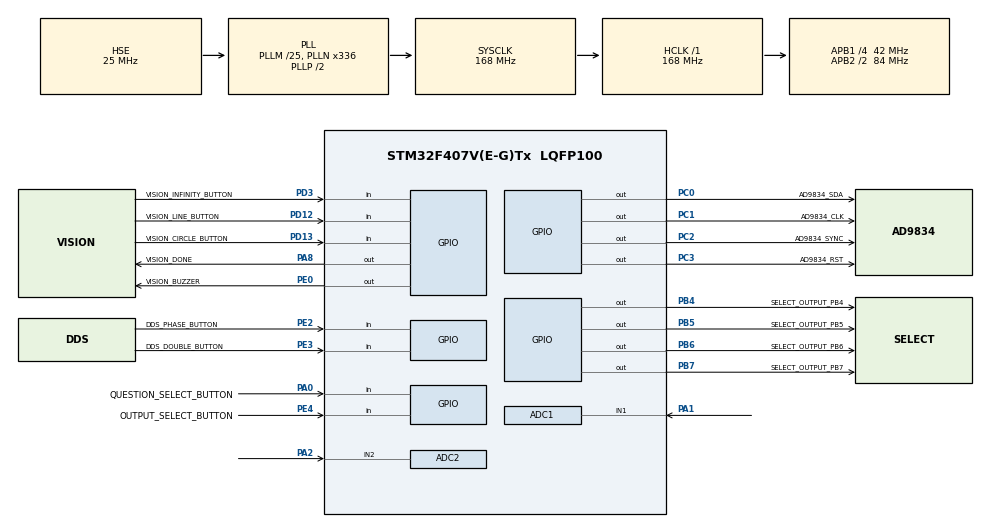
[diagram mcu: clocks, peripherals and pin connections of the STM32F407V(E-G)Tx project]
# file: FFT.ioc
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ADC1.Channel-0\#ChannelRegularConversion=ADC_CHANNEL_1
ADC1.DMAContinuousRequests=ENABLE
ADC1.ExternalTrigConv=ADC_EXTERNALTRIGCONV_T3_TRGO
ADC1.ExternalTrigConvEdge=ADC_EXTERNALTRIGCONVEDGE_RISING
ADC1.NbrOfConversionFlag=1
ADC1.Rank-0\#ChannelRegularConversion=1
ADC1.SamplingTime-0\#ChannelRegularConversion=ADC_SAMPLETIME_3CYCLES
ADC1.master=1
ADC2.Channel-0\#ChannelRegularConversion=ADC_CHANNEL_2
ADC2.DMAContinuousRequests=ENABLE
ADC2.ExternalTrigConv=ADC_EXTERNALTRIGCONV_T3_TRGO
ADC2.ExternalTrigConvEdge=ADC_EXTERNALTRIGCONVEDGE_RISING
ADC2.NbrOfConversionFlag=1
ADC2.Rank-0\#ChannelRegularConversion=1
ADC2.SamplingTime-0\#ChannelRegularConversion=ADC_SAMPLETIME_3CYCLES
Dma.ADC1.0.Direction=DMA_PERIPH_TO_MEMORY
Dma.ADC1.0.FIFOMode=DMA_FIFOMODE_DISABLE
Dma.ADC1.0.Instance=DMA2_Stream0
Dma.ADC1.0.MemDataAlignment=DMA_MDATAALIGN_HALFWORD
Dma.ADC1.0.MemInc=DMA_MINC_ENABLE
Dma.ADC1.0.Mode=DMA_CIRCULAR
Dma.ADC1.0.PeriphDataAlignment=DMA_PDATAALIGN_HALFWORD
Dma.ADC1.0.PeriphInc=DMA_PINC_DISABLE
Dma.ADC1.0.Priority=DMA_PRIORITY_LOW
Dma.ADC2.0.Direction=DMA_PERIPH_TO_MEMORY
Dma.ADC2.0.FIFOMode=DMA_FIFOMODE_DISABLE
Dma.ADC2.0.Instance=DMA2_Stream2
Dma.ADC2.0.MemDataAlignment=DMA_MDATAALIGN_HALFWORD
Dma.ADC2.0.MemInc=DMA_MINC_ENABLE
Dma.ADC2.0.Mode=DMA_CIRCULAR
Dma.ADC2.0.PeriphDataAlignment=DMA_PDATAALIGN_HALFWORD
Dma.ADC2.0.PeriphInc=DMA_PINC_DISABLE
Dma.ADC2.0.Priority=DMA_PRIORITY_LOW
Dma.Request0=ADC1
Dma.Request1=ADC2
Mcu.Family=STM32F4
Mcu.Name=STM32F407V(E-G)Tx
Mcu.Package=LQFP100
NVIC.DMA2_Stream0_IRQn=true\:0\:0\:false\:false\:true\:false\:true\:true
NVIC.DMA2_Stream2_IRQn=true\:0\:0\:false\:false\:true\:false\:true\:true
NVIC.PriorityGroup=NVIC_PRIORITYGROUP_4
NVIC.USART1_IRQn=true\:2\:0\:false\:false\:true\:true\:true\:true
PA1.Signal=ADCx_IN1
PA2.Signal=ADCx_IN2
PA0.GPIO_Label=QUESTION_SELECT_BUTTON
PA0.GPIO_PuPd=GPIO_PULLDOWN
PA0.Signal=GPIO_Input
PA10.Signal=USART1_RX
PA8.GPIO_Label=VISION_DONE
PA8.Signal=GPIO_Output
PA13.Mode=Serial_Wire
PA13.Signal=SYS_JTMS-SWDIO
PA14.Mode=Serial_Wire
PA14.Signal=SYS_JTCK-SWCLK
PA9.Signal=USART1_TX
PC0.GPIO_Label=AD9834_SDA
PC0.Signal=GPIO_Output
PC1.GPIO_Label=AD9834_CLK
PC1.Signal=GPIO_Output
PC2.GPIO_Label=AD9834_SYNC
PC2.Signal=GPIO_Output
PC3.GPIO_Label=AD9834_RST
PC3.Signal=GPIO_Output
PE2.GPIO_Label=DDS_PHASE_BUTTON
PE2.GPIO_PuPd=GPIO_PULLDOWN
PE2.Signal=GPIO_Input
PE3.GPIO_Label=DDS_DOUBLE_BUTTON
PE3.GPIO_PuPd=GPIO_PULLDOWN
PE3.Signal=GPIO_Input
PE4.GPIO_Label=OUTPUT_SELECT_BUTTON
PE4.GPIO_PuPd=GPIO_PULLDOWN
PE4.Signal=GPIO_Input
PE0.GPIO_Label=VISION_BUZZER
PE0.Signal=GPIO_Output
PB10.Signal=USART3_TX
PB11.Signal=USART3_RX
PD12.GPIO_Label=VISION_LINE_BUTTON
PD12.GPIO_PuPd=GPIO_PULLDOWN
PD12.Signal=GPIO_Input
PD13.GPIO_Label=VISION_CIRCLE_BUTTON
PD13.GPIO_PuPd=GPIO_PULLDOWN
PD13.Signal=GPIO_Input
PD3.GPIO_Label=VISION_INFINITY_BUTTON
PD3.GPIO_PuPd=GPIO_PULLDOWN
PD3.Signal=GPIO_Input
PB4.GPIO_Label=SELECT_OUTPUT_PB4
PB4.Signal=GPIO_Output
PB5.GPIO_Label=SELECT_OUTPUT_PB5
PB5.PinState=GPIO_PIN_SET
PB5.Signal=GPIO_Output
PB6.GPIO_Label=SELECT_OUTPUT_PB6
PB6.PinState=GPIO_PIN_SET
PB6.Signal=GPIO_Output
PB7.GPIO_Label=SELECT_OUTPUT_PB7
PB7.PinState=GPIO_PIN_SET
PB7.Signal=GPIO_Output
PC14-OSC32_IN.Mode=LSE-External-Oscillator
PC14-OSC32_IN.Signal=RCC_OSC32_IN
PC15-OSC32_OUT.Mode=LSE-External-Oscillator
PC15-OSC32_OUT.Signal=RCC_OSC32_OUT
PH0-OSC_IN.Mode=HSE-External-Oscillator
PH0-OSC_IN.Signal=RCC_OSC_IN
PH1-OSC_OUT.Mode=HSE-External-Oscillator
PH1-OSC_OUT.Signal=RCC_OSC_OUT
ProjectManager.HeapSize=0x200
ProjectManager.StackSize=0x400
ProjectManager.TargetToolchain=MDK-ARM V5.32
RCC.48MHZClocksFreq_Value=84000000
RCC.AHBFreq_Value=168000000
RCC.APB1CLKDivider=RCC_HCLK_DIV4
RCC.APB1Freq_Value=42000000
RCC.APB1TimFreq_Value=84000000
RCC.APB2CLKDivider=RCC_HCLK_DIV2
RCC.APB2Freq_Value=84000000
RCC.APB2TimFreq_Value=168000000
RCC.CortexFreq_Value=168000000
RCC.HCLKFreq_Value=168000000
RCC.HSE_VALUE=25000000
RCC.HSI_VALUE=16000000
RCC.PLLM=25
RCC.PLLN=336
RCC.PLLSourceVirtual=RCC_PLLSOURCE_HSE
RCC.SYSCLKFreq_VALUE=168000000
RCC.SYSCLKSource=RCC_SYSCLKSOURCE_PLLCLK
RCC.VCOOutputFreq_Value=336000000
SH.ADCx_IN1.0=ADC1_IN1,IN1
SH.ADCx_IN2.0=ADC2_IN2,IN2
STMicroelectronics.X-CUBE-ALGOBUILD.1.5.0.LibraryCcDSPOoLibraryJjDSPOoLibrary=true
TIM3.Period=83
TIM3.TIM_MasterOutputTrigger=TIM_TRGO_UPDATE
USART1.VirtualMode=VM_ASYNC
USART3.VirtualMode=VM_ASYNC
VP_STMicroelectronics.X-CUBE-ALGOBUILD_VS_DSPOoLibraryJjLibrary_1.5.0_1.5.0.Mode=DSPOoLibraryJjLibrary
VP_TIM3_VS_ClockSourceINT.Mode=Internal
board=custom

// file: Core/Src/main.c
/* USER CODE BEGIN Header */
/**
  ******************************************************************************
  * @file           : main.c
  * @brief          : Main program body
  ******************************************************************************
  * @attention
  *
  * Copyright (c) 2026 STMicroelectronics.
  * All rights reserved.
  *
  * This software is licensed under terms that can be found in the LICENSE file
  * in the root directory of this software component.
  * If no LICENSE file comes with this software, it is provided AS-IS.
  *
  ******************************************************************************
  */
/* USER CODE END Header */
#include "main.h"
#include "adc.h"
#include "dma.h"
#include "tim.h"
#include "usart.h"
#include "gpio.h"

/* USER CODE BEGIN Includes */
#include "signal_app.h"
#include "tft_display.h"
#include "vision_slave.h"
/* USER CODE END Includes */

/* USER CODE BEGIN PTD */

typedef enum
{
  APP_MODE_NORMAL = 0U,
  APP_MODE_VISION = 1U
} AppMode;

/* 一个按键的消抖状态，每个键各存一份 */
typedef struct
{
  GPIO_PinState sampled_state;
  GPIO_PinState stable_state;
  uint32_t state_change_tick;
} ButtonState_t;

/* USER CODE END PTD */

/* USER CODE BEGIN PD */
#define BUTTON_DEBOUNCE_MS         20U
#define OUTPUT_SELECT_COUNT         4U
#define OUTPUT_SELECT_ALL_PINS (SELECT_OUTPUT_PB4_Pin | \
                                SELECT_OUTPUT_PB5_Pin | \
                                SELECT_OUTPUT_PB6_Pin | \
                                SELECT_OUTPUT_PB7_Pin)

/* USER CODE END PD */

/* USER CODE BEGIN PV */
static AppMode app_mode = APP_MODE_NORMAL;
/* USER CODE END PV */

void SystemClock_Config(void);
/* USER CODE BEGIN PFP */
static uint8_t DDS_DoubleButtonProcess(void);
static uint8_t DDS_PhaseButtonProcess(void);
static uint8_t QuestionSelectButton_Process(void);
static uint8_t AppMode_EnterVision(void);
static void OutputSelector_Process(void);

/* USER CODE END PFP */

/* USER CODE BEGIN 0 */

/*
 * 通用按键消抖：电平稳定超过 BUTTON_DEBOUNCE_MS 才算一次按下。
 * 返回 1 表示这一圈检测到一次有效按下，返回 0 表示没有。
 * 上电第一次调用只对齐电平，不判定；上电时按住不放的键必须先松开，才认第一次按下。
 */
static uint8_t Button_WasPressed(ButtonState_t *button,
                                 GPIO_TypeDef *port,
                                 uint16_t pin)
{
  GPIO_PinState current_state = HAL_GPIO_ReadPin(port, pin);
  uint32_t now = HAL_GetTick();

  /* state_change_tick 为 0 表示还没对齐过，这一次只记录电平，不做判定 */
  if (button->state_change_tick == 0U)
  {
    button->sampled_state = current_state;
    button->stable_state = current_state;
    button->state_change_tick = now;
    return 0U;
  }

  if (current_state != button->sampled_state)
  {
    button->sampled_state = current_state;
    button->state_change_tick = now;
  }

  if (button->sampled_state != button->stable_state &&
      (uint32_t)(now - button->state_change_tick) >= BUTTON_DEBOUNCE_MS)
  {
    button->stable_state = button->sampled_state;
    if (button->stable_state == GPIO_PIN_SET)
      return 1U;
  }

  return 0U;
}

static uint8_t DDS_DoubleButtonProcess(void)
{
  static ButtonState_t button;

  if (!Button_WasPressed(&button, DDS_DOUBLE_BUTTON_GPIO_Port,
                         DDS_DOUBLE_BUTTON_Pin))
  {
    return 1U;
  }

  if (SignalApp_ToggleOutputMode() == 0U)
    return 0U;
  TFT_Display_ShowQuestion(3U);
  return 1U;
}

static uint8_t DDS_PhaseButtonProcess(void)
{
  static ButtonState_t button;

  if (!Button_WasPressed(&button, DDS_PHASE_BUTTON_GPIO_Port,
                         DDS_PHASE_BUTTON_Pin))
  {
    return 1U;
  }

  if (SignalApp_TogglePhaseTarget() == 0U)
    return 0U;
  TFT_Display_ShowQuestion(2U);
  return 1U;
}

static uint8_t QuestionSelectButton_Process(void)
{
  static ButtonState_t button;

  return Button_WasPressed(&button, QUESTION_SELECT_BUTTON_GPIO_Port,
                           QUESTION_SELECT_BUTTON_Pin);
}

static uint8_t AppMode_EnterVision(void)
{
  if (!SignalApp_Suspend())
    return 0U;

  MX_USART3_UART_Init();
  if (!VisionSlave_Init(&huart3))
  {
    (void)HAL_UART_DeInit(&huart3);
    /* 回滚采集只为把现场清干净，之后仍然返 0 交给上层停机 */
    (void)SignalApp_Resume(&huart1);
    return 0U;
  }

  TFT_Display_ShowVision(0U);
  app_mode = APP_MODE_VISION;
  return 1U;
}

static void OutputSelector_SetChannel(uint8_t channel)
{
  static const uint16_t output_pins[OUTPUT_SELECT_COUNT] =
  {
    SELECT_OUTPUT_PB4_Pin,
    SELECT_OUTPUT_PB5_Pin,
    SELECT_OUTPUT_PB6_Pin,
    SELECT_OUTPUT_PB7_Pin
  };
  uint16_t selected_pin = output_pins[channel];
  uint16_t other_pins = (uint16_t)(OUTPUT_SELECT_ALL_PINS &
                                   (uint16_t)~selected_pin);

  SELECT_OUTPUT_PB4_GPIO_Port->BSRR =
      ((uint32_t)selected_pin << 16U) | (uint32_t)other_pins;
}

static void OutputSelector_Process(void)
{
  static ButtonState_t button;
  static uint8_t selected_channel = 0U;
  static const uint8_t vertical_divisions[OUTPUT_SELECT_COUNT] =
  {
    8U, 6U, 4U, 2U
  };

  if (!Button_WasPressed(&button, OUTPUT_SELECT_BUTTON_GPIO_Port,
                         OUTPUT_SELECT_BUTTON_Pin))
  {
    return;
  }

  selected_channel =
      (uint8_t)((selected_channel + 1U) % OUTPUT_SELECT_COUNT);
  OutputSelector_SetChannel(selected_channel);
  /* 屏幕显示跟着真正被拉低的那一位走。 */
  if (app_mode == APP_MODE_NORMAL)
    TFT_Display_ShowFourth(vertical_divisions[selected_channel]);
}

/* USER CODE END 0 */

int main(void)
{

  /* MCU Configuration--------------------------------------------------------*/

  /* Reset of all peripherals, Initializes the Flash interface and the Systick. */
  HAL_Init();

  /* Configure the system clock */
  SystemClock_Config();

  /* Initialize all configured peripherals */
  MX_GPIO_Init();
  MX_DMA_Init();
  MX_TIM3_Init();
  MX_ADC1_Init();
  MX_ADC2_Init();
  MX_USART1_UART_Init();
/* USER CODE BEGIN 2 */
  TFT_Display_Init();
  TFT_Display_ShowQuestion(1U);
  if (!SignalApp_Init(&hadc1, &hadc2, &htim3, &huart1))
    Error_Handler();
/* USER CODE END 2 */

  /* Infinite loop */
  /* USER CODE BEGIN WHILE */
  while (1)
  {
    if (app_mode == APP_MODE_NORMAL && QuestionSelectButton_Process())
    {
      if (!AppMode_EnterVision())
        Error_Handler();
      continue;
    }

    OutputSelector_Process();
    if (app_mode == APP_MODE_NORMAL)
    {
      if (!DDS_DoubleButtonProcess() ||
          !DDS_PhaseButtonProcess() ||
          !SignalApp_Process())
      {
        Error_Handler();
      }
    }
    else if (!VisionSlave_Process())
    {
      Error_Handler();
    }
    /* USER CODE END WHILE */

  }
}

void SystemClock_Config(void)
{
  RCC_OscInitTypeDef RCC_OscInitStruct = {0};
  RCC_ClkInitTypeDef RCC_ClkInitStruct = {0};

  /** Configure the main internal regulator output voltage
  */
  __HAL_RCC_PWR_CLK_ENABLE();
  __HAL_PWR_VOLTAGESCALING_CONFIG(PWR_REGULATOR_VOLTAGE_SCALE1);

  /** Initializes the RCC Oscillators according to the specified parameters
  * in the RCC_OscInitTypeDef structure.
  */
  RCC_OscInitStruct.OscillatorType = RCC_OSCILLATORTYPE_HSE;
  RCC_OscInitStruct.HSEState = RCC_HSE_ON;
  RCC_OscInitStruct.PLL.PLLState = RCC_PLL_ON;
  RCC_OscInitStruct.PLL.PLLSource = RCC_PLLSOURCE_HSE;
  RCC_OscInitStruct.PLL.PLLM = 25;
  RCC_OscInitStruct.PLL.PLLN = 336;
  RCC_OscInitStruct.PLL.PLLP = RCC_PLLP_DIV2;
  RCC_OscInitStruct.PLL.PLLQ = 4;
  if (HAL_RCC_OscConfig(&RCC_OscInitStruct) != HAL_OK)
  {
    Error_Handler();
  }

  /** Initializes the CPU, AHB and APB buses clocks
  */
  RCC_ClkInitStruct.ClockType = RCC_CLOCKTYPE_HCLK|RCC_CLOCKTYPE_SYSCLK
                              |RCC_CLOCKTYPE_PCLK1|RCC_CLOCKTYPE_PCLK2;
  RCC_ClkInitStruct.SYSCLKSource = RCC_SYSCLKSOURCE_PLLCLK;
  RCC_ClkInitStruct.AHBCLKDivider = RCC_SYSCLK_DIV1;
  RCC_ClkInitStruct.APB1CLKDivider = RCC_HCLK_DIV4;
  RCC_ClkInitStruct.APB2CLKDivider = RCC_HCLK_DIV2;

  if (HAL_RCC_ClockConfig(&RCC_ClkInitStruct, FLASH_LATENCY_5) != HAL_OK)
  {
    Error_Handler();
  }
}

void Error_Handler(void)
{
  __disable_irq();
  while (1)
  {
  }
}
